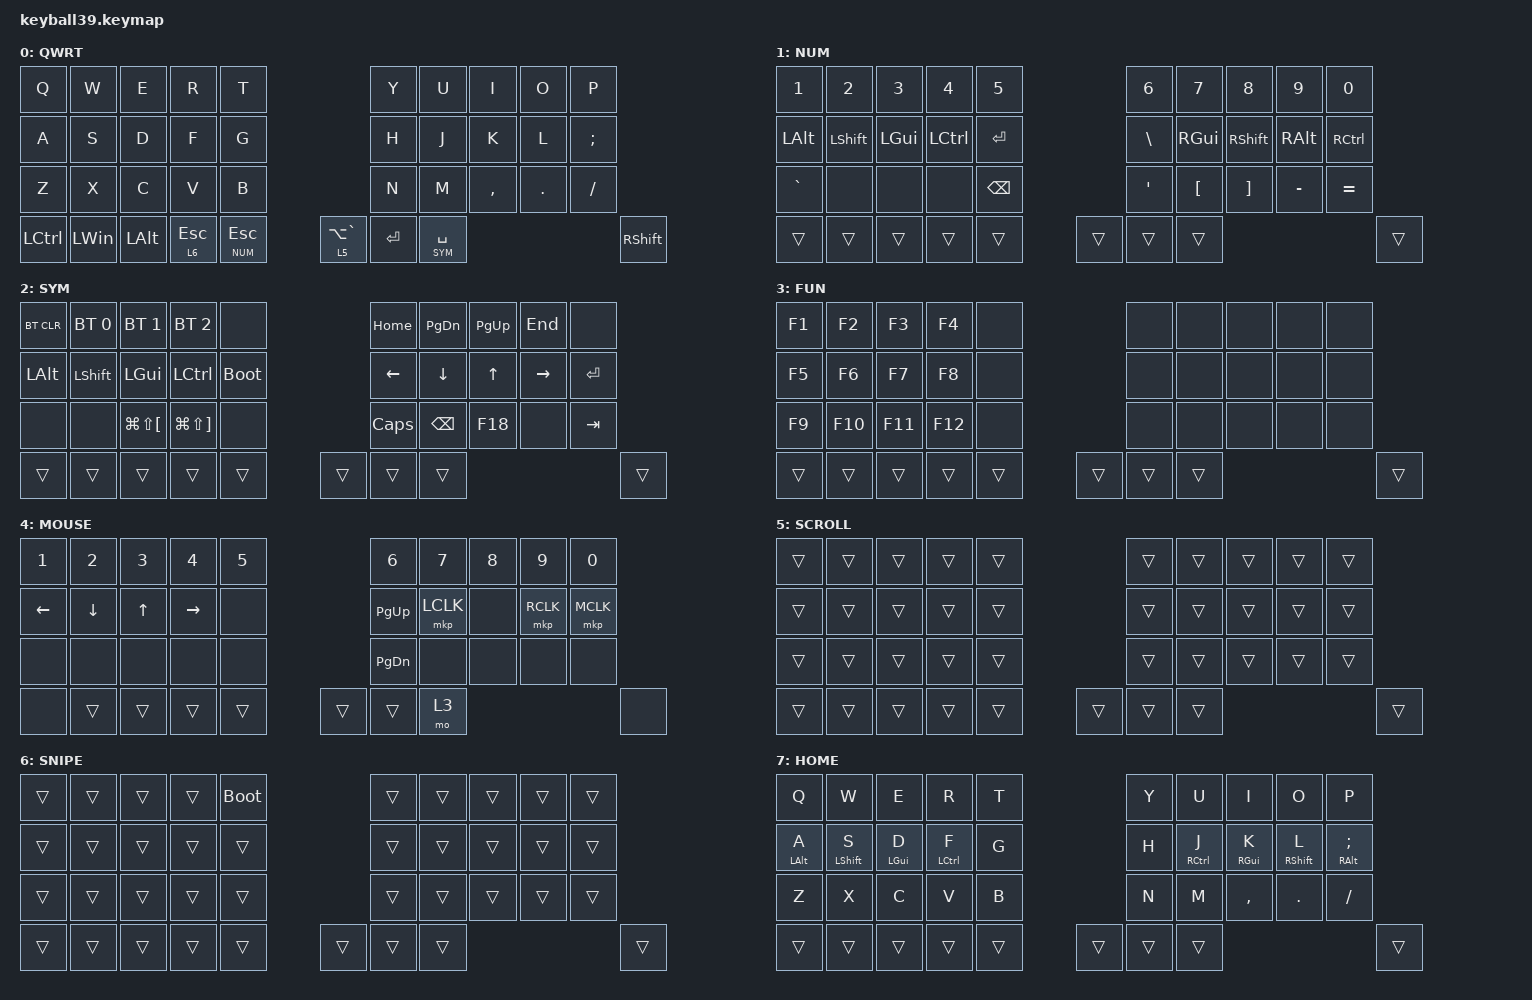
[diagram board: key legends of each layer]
#define DEFAULT 0
#define NUM     1
#define SYM     2
#define FUN     3
#define MOUSE   4
#define SCROLL  5
#define SNIPE   6
#define HOMEROW 7

#include <behaviors/mouse_keys.dtsi>
#include <dt-bindings/zmk/mouse.h>
#include <behaviors.dtsi>
#include <dt-bindings/zmk/bt.h>
#include <dt-bindings/zmk/keys.h>

&nice_view_spi { cs-gpios = <&pro_micro 1 GPIO_ACTIVE_HIGH>; };

&lt {
    tapping-term-ms = <240>;
    flavor = "balanced";
    quick-tap-ms = <150>;
};

&mt {
    tapping-term-ms = <200>;
    flavor = "tap-preferred";
    quick-tap-ms = <150>;
};

&caps_word { continue-list = <UNDERSCORE MINUS>; };

/ {
    // custom shift using mod-morph 

    combos {
        compatible = "zmk,combos";

        combo_left_ctrl {
            timeout-ms = <30>;
            key-positions = <13 23>;
            bindings = <&kp LCTRL>;
        };

        combo_left_cmd {
            timeout-ms = <30>;
            key-positions = <12 22>;
            bindings = <&kp LGUI>;
        };

        combo_left_cmd_ctrl {
            timeout-ms = <30>;
            key-positions = <22 23>;
            bindings = <&kp LC(LGUI)>;
        };

        combo_left_cmd_shift {
            timeout-ms = <30>;
            key-positions = <21 22>;
            bindings = <&kp LS(LGUI)>;
        };

        combo_to_homerow {
            timeout-ms = <30>;
            key-positions = <12 13>;
            bindings = <&to HOMEROW>;
        };

        combo_backspace {
            timeout-ms = <30>;
            key-positions = <6 7>;
            bindings = <&kp BACKSPACE>;
        };

        combo_tab {
            timeout-ms = <30>;
            key-positions = <7 8>;
            bindings = <&kp TAB>;
        };

        combo_delete {
            timeout-ms = <30>;
            key-positions = <8 9>;
            bindings = <&kp DELETE>;
        };

        combo_space_right {
            timeout-ms = <30>;
            key-positions = <16 17>;
            bindings = <&kp SPACE>;
        };

        combo_escape_right {
            timeout-ms = <30>;
            key-positions = <17 18>;
            bindings = <&kp ESCAPE>;
        };

        combo_enter_right {
            timeout-ms = <30>;
            key-positions = <18 19>;
            bindings = <&kp ENTER>;
        };

        combo_right_ctrl {
            timeout-ms = <30>;
            key-positions = <16 26>;
            bindings = <&kp RCTRL>;
        };

        combo_right_gui {
            timeout-ms = <30>;
            key-positions = <17 27>;
            bindings = <&kp RGUI>;
        };

        combo_right_shift {
            timeout-ms = <30>;
            key-positions = <18 28>;
            bindings = <&kp RSHFT>;
        };

        combo_right_alt {
            timeout-ms = <30>;
            key-positions = <19 29>;
            bindings = <&kp RALT>;
        };

        combo_f18 {
            timeout-ms = <30>;
            key-positions = <6 16>;
            bindings = <&kp F18>;
        };

        combo_f19 {
            timeout-ms = <30>;
            key-positions = <7 17>;
            bindings = <&kp F19>;
        };

        combo_f20 {
            timeout-ms = <30>;
            key-positions = <8 18>;
            bindings = <&kp F20>;
        };

        combo_to_scroll {
            timeout-ms = <30>;
            key-positions = <2 3>;
            bindings = <&to SCROLL>;
        };

        combo_to_snipe {
            timeout-ms = <30>;
            key-positions = <1 2>;
            bindings = <&to SNIPE>;
        };

        combo_left_shift {
            timeout-ms = <30>;
            key-positions = <11 21>;
            bindings = <&kp LSHFT>;
        };

        combo_left_alt {
            timeout-ms = <30>;
            key-positions = <10 20>;
            bindings = <&kp LALT>;
        };

        combo_to_default_left {
            timeout-ms = <30>;
            key-positions = <11 12>;
            bindings = <&to DEFAULT>;
        };

    };

    behaviors {
        home_num: home_num {
            compatible = "zmk,behavior-hold-tap";
            label = "HOME_NUM";
            #binding-cells = <2>;
            tapping-term-ms = <220>;
            flavor = "tap-preferred";
            quick-tap-ms = <150>;
            bindings = <&mo>, <&kp>;
        };

        default_sym: default_sym {
            compatible = "zmk,behavior-hold-tap";
            label = "DEFAULT_SYM";
            #binding-cells = <2>;
            tapping-term-ms = <220>;
            flavor = "tap-preferred";
            quick-tap-ms = <150>;
            bindings = <&mo>, <&kp>;
        };

        cmqus: comma_question {
            compatible = "zmk,behavior-mod-morph";
            label = "COMMA_QUESTION";
            #binding-cells = <0>;
            bindings = <&kp COMMA>, <&kp QUESTION>;

            mods = <(MOD_LSFT|MOD_RSFT)>;
        };

        dtsmi: dot_semi {
            compatible = "zmk,behavior-mod-morph";
            label = "DOT_SEMI";
            #binding-cells = <0>;
            bindings = <&kp DOT>, <&kp SEMI>;

            mods = <(MOD_LSFT|MOD_RSFT)>;
        };
    };

    macros {
        Hiragana: Hiragana {
            compatible = "zmk,behavior-macro";
            #binding-cells = <0>;
            bindings = <&kp LC(SPACE)>;
            label = "HIRAGANA";
        };
    };

    keymap {
        compatible = "zmk,keymap";

        default_layer {
            label = "QWRT";
            bindings = <
&kp Q      &kp W         &kp E     &kp R         &kp T                                    &kp Y            &kp U  &kp I      &kp O    &kp P
&kp A      &kp S         &kp D     &kp F         &kp G                                    &kp H            &kp J  &kp K      &kp L    &kp SEMI
&kp Z      &kp X         &kp C     &kp V         &kp B                                    &kp N            &kp M  &kp COMMA  &kp DOT  &kp SLASH
&kp LCTRL  &kp LEFT_WIN  &kp LALT  &lt 6 ESCAPE  &home_num NUM ESCAPE   &lt 5 LA(GRAVE)  &kp ENTER  &default_sym SYM SPACE                    &kp RSHFT
            >;
        };

        number_layer {
            label = "NUM";
            bindings = <
&kp NUMBER_1  &kp NUMBER_2   &kp NUMBER_3         &kp NUMBER_4   &kp NUMBER_5                  &kp NUMBER_6   &kp NUMBER_7        &kp NUMBER_8      &kp NUMBER_9  &kp NUMBER_0
&kp LALT      &kp LSHFT      &kp LGUI             &kp LCTRL      &kp ENTER                     &kp BACKSLASH  &kp RGUI            &kp RSHFT         &kp RALT      &kp RCTRL
&kp GRAVE     &none          &none                &none          &kp BACKSPACE                 &kp SQT        &kp LEFT_BRACKET      &kp RIGHT_BRACKET      &kp MINUS     &kp EQUAL
&trans        &trans        &trans        &trans        &trans        &trans  &trans  &trans                                                  &trans
            >;
        };

        symbol_layer {
            label = "SYM";
            bindings = <
&bt BT_CLR       &bt BT_SEL 0  &bt BT_SEL 1    &bt BT_SEL 2    &none                       &kp HOME      &kp PAGE_DOWN  &kp PAGE_UP      &kp END       &none
&kp LALT         &kp LSHFT     &kp LGUI        &kp LCTRL       &bootloader                 &kp LEFT      &kp DOWN       &kp UP_ARROW     &kp RIGHT     &kp ENTER
&none            &none         &kp LG(LS(LEFT_BRACKET))  &kp LG(LS(RIGHT_BRACKET))  &none        &kp CAPSLOCK  &kp BACKSPACE  &kp F18          &none         &kp TAB
&trans           &trans        &trans        &trans        &trans       &trans  &trans  &trans                                                                 &trans
            >;
        };

        function_layer {
            label = "FUN";
            bindings = <
&kp F1  &kp F2   &kp F3   &kp F4   &none                   &none   &none  &none  &none  &none
&kp F5  &kp F6   &kp F7   &kp F8   &none                   &none   &none  &none  &none  &none
&kp F9  &kp F10  &kp F11  &kp F12  &none                   &none   &none  &none  &none  &none
&trans  &trans   &trans   &trans   &trans  &trans  &trans  &trans                       &trans
            >;
        };

        mouse_layer {
            label = "MOUSE";
            bindings = <
&kp N1          &kp N2          &kp N3        &kp N4     &kp N5                  &kp N6         &kp N7     &kp N8  &kp N9     &kp N0
&kp LEFT_ARROW  &kp DOWN_ARROW  &kp UP_ARROW  &kp RIGHT  &none                   &kp PAGE_UP    &mkp LCLK  &none   &mkp RCLK  &mkp MCLK
&none           &none           &none         &none      &none                   &kp PAGE_DOWN  &none      &none   &none      &none
&none           &trans          &trans        &trans     &trans  &trans  &trans  &mo 3                                        &none
            >;
        };

        scroll_layer {
            label = "SCROLL";
            bindings = <
&trans  &trans  &trans  &trans  &trans                  &trans  &trans  &trans  &trans  &trans
&trans  &trans  &trans  &trans  &trans                  &trans  &trans  &trans  &trans  &trans
&trans  &trans  &trans  &trans  &trans                  &trans  &trans  &trans  &trans  &trans
&trans  &trans  &trans  &trans  &trans  &trans  &trans  &trans                          &trans
            >;
        };

        snipe_layer {
            label = "SNIPE";
            bindings = <
&trans  &trans  &trans  &trans  &bootloader                  &trans  &trans  &trans  &trans  &trans
&trans  &trans  &trans  &trans  &trans                       &trans  &trans  &trans  &trans  &trans
&trans  &trans  &trans  &trans  &trans                       &trans  &trans  &trans  &trans  &trans
&trans  &trans  &trans  &trans  &trans       &trans  &trans  &trans                          &trans
            >;
        };

        homerow_layer {
            label = "HOME";
            bindings = <
&kp Q      &kp W         &kp E         &kp R         &kp T                                    &kp Y            &kp U         &kp I         &kp O        &kp P
&mt LALT A  &mt LSHFT S  &mt LGUI D    &mt LCTRL F   &kp G                                    &kp H            &mt RCTRL J   &mt RGUI K    &mt RSHFT L  &mt RALT SEMI
&kp Z      &kp X         &kp C         &kp V         &kp B                                    &kp N            &kp M         &kp COMMA     &kp DOT      &kp SLASH
&trans     &trans        &trans        &trans        &trans     &trans          &trans     &trans                                      &trans
            >;
        };
    };
};
